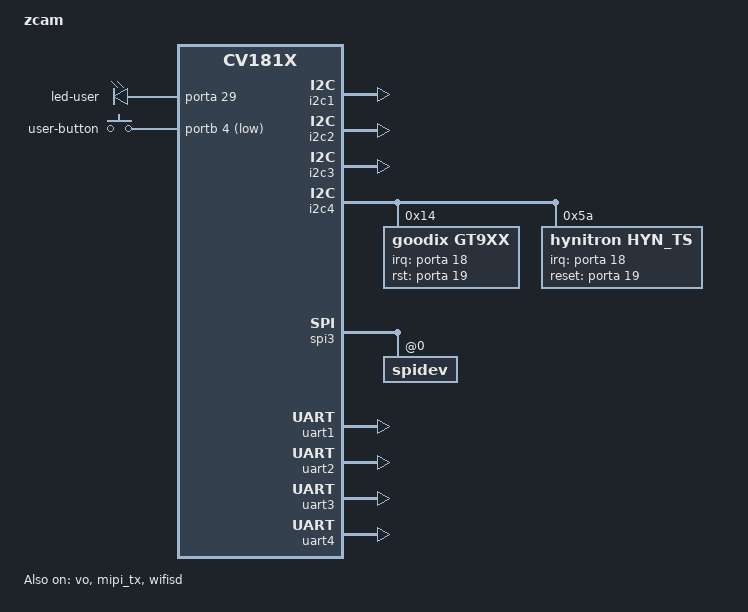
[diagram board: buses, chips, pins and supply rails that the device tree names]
/dts-v1/;
#include "cv181x_base_riscv.dtsi"
#include "cv181x_asic_qfn.dtsi"
#include "cv181x_asic_sd.dtsi"
#include "cv181x_default_memmap.dtsi"
/ {
	model = "zcam";

	leds {
		compatible = "gpio-leds";
		led-user {
			gpios = <&porta 29 GPIO_ACTIVE_HIGH>;
			linux,default-trigger = "activity";
		};
	};

	gpio-keys {
		compatible = "gpio-keys";

		user-button {
			label = "user-button";
			linux,code = <28>;
			gpios = <&portb 4 GPIO_ACTIVE_LOW>;
			debounce-interval = <10>;
			wakeup-source;
		};
	};
};

&mipi_rx {
	snsr-reset = <&porta 2 GPIO_ACTIVE_LOW>, <&porta 2 GPIO_ACTIVE_LOW>, <&porta 2 GPIO_ACTIVE_LOW>;
};

&i2c0 {
	status = "disabled";
};

&i2c1 {
	status = "okay";
};

&i2c2 {
	status = "okay";
};

&i2c3 {
	status = "okay";
};

&i2c4 {
	status = "okay";

	gt9xx: gt9xx@14 {
		compatible = "goodix,gt9xx";
		reg = <0x14>;
		goodix,irq-gpio = <&porta 18 0>;
		goodix,rst-gpio = <&porta 19 0>;
		status = "okay";
	};

	hynitron: hynitron@5a {
		compatible = "hynitron,hyn_ts", "hyn,7xx";
		reg = <0x5a>;
		irq-gpio = <&porta 18 0>;
		hynitron,irq-gpio = <&porta 18 0>;
		reset-gpio = <&porta 19 0>;
		hynitron,reset-gpio = <&porta 19 0>;
		max-touch-number = <5>;
		hynitron,max-touch-number = <5>;
		display-coords = <0 0 368 552>;
		hynitron,display-coords = <368 552>;
		pos-swap = <0>;
		posx-reverse = <0>;
		posy-reverse = <1>;
		status = "okay";
	};
};

//&i2c4 {
//	status = "okay";
//
//	gt911: gt911@14 {
//		compatible = "goodix,gt911";
//		reg = <0x14>;
//		interrupt-parent = <&porta>;
//		interrupts = <18 IRQ_TYPE_EDGE_FALLING>;
//		goodix,irq-gpio = <&porta 18 IRQ_TYPE_EDGE_FALLING>;
//		goodix,rst-gpio = <&porta 19 GPIO_ACTIVE_LOW>;
//		status = "okay";
//	};
//};

&spi3 {
	status = "okay";

	spidev@0 {
		status = "okay";
	};
};

&dac {
	/delete-property/ mute-gpio-l;
	/delete-property/ mute-gpio-r;
};

/* mipi dsi for u-boot */
&vo {
	compatible = "cvitek,vo";
	reset-gpio = <&porte 2 GPIO_ACTIVE_LOW>;
	pwm-gpio = <&porte 0 GPIO_ACTIVE_HIGH>;
	power-ct-gpio = <&porte 1 GPIO_ACTIVE_HIGH>;
	status = "okay";
};

/* mipi dsi for kernel */
&mipi_tx {
	compatible = "cvitek,mipi_tx";
	reset-gpio = <&porte 2 GPIO_ACTIVE_LOW>;
	pwm-gpio = <&porte 0 GPIO_ACTIVE_HIGH>;
	power-ct-gpio = <&porte 1 GPIO_ACTIVE_HIGH>;
	status = "okay";
};

&wifisd {
	status = "okay";
	cap-sd-highspeed;
	sd-uhs-sdr25;
	sd-uhs-ddr50;
	sd-uhs-sdr104;
	min-frequency = <400000>;
	max-frequency = <187500000>;
};

&wifi_pin {
	status = "okay";
	compatible = "cvitek,wifi-pin";
	poweron-gpio = <&porta 15 GPIO_ACTIVE_HIGH>;
	wakeup-gpio = <&porte 7 GPIO_ACTIVE_HIGH>;
};

&usb {
	vbus-gpio = <&portb 6 0>;
};

&uart1 {
	status = "okay";
};

&uart2 {
	status = "okay";
};

&uart3 {
	status = "okay";
};

&uart4 {
	status = "okay";
};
